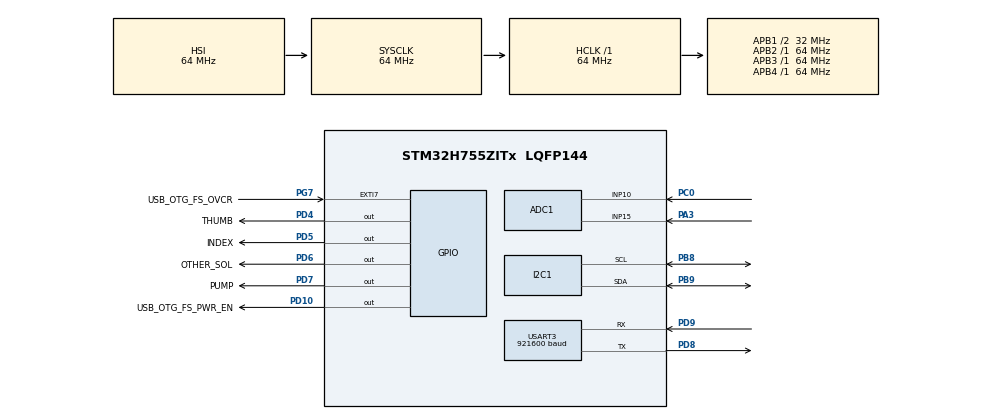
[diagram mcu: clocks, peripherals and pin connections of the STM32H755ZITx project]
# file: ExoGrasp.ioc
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ADC1.Channel-0\#ChannelRegularConversion=ADC_CHANNEL_15
ADC1.Channel-1\#ChannelRegularConversion=ADC_CHANNEL_10
ADC1.ClockPrescaler=ADC_CLOCK_ASYNC_DIV2
ADC1.ContinuousConvMode=DISABLE
ADC1.ConversionDataManagement=ADC_CONVERSIONDATA_DMA_CIRCULAR
ADC1.EOCSelection=ADC_EOC_SEQ_CONV
ADC1.ExternalTrigConv=ADC_EXTERNALTRIG_T3_TRGO
ADC1.ExternalTrigConvEdge=ADC_EXTERNALTRIGCONVEDGE_RISING
ADC1.NbrOfConversion=2
ADC1.NbrOfConversionFlag=1
ADC1.OffsetNumber-0\#ChannelRegularConversion=ADC_OFFSET_NONE
ADC1.OffsetNumber-1\#ChannelRegularConversion=ADC_OFFSET_NONE
ADC1.OffsetSignedSaturation-0\#ChannelRegularConversion=DISABLE
ADC1.OffsetSignedSaturation-1\#ChannelRegularConversion=DISABLE
ADC1.Rank-0\#ChannelRegularConversion=1
ADC1.Rank-1\#ChannelRegularConversion=2
ADC1.SamplingTime-0\#ChannelRegularConversion=ADC_SAMPLETIME_1CYCLE_5
ADC1.SamplingTime-1\#ChannelRegularConversion=ADC_SAMPLETIME_1CYCLE_5
ADC1.master=1
CORTEX_M7.CPU_DCache=Enabled
CORTEX_M7.CPU_ICache=Enabled
CortexM4.IPs=FATFS_M4\:I,FREERTOS_M4\:I,IWDG2\:I,RCC,WWDG2\:I,DMA,BDMA,MDMA,NVIC2\:I,ETH,DEBUG,PDM2PCM_M4\:I,PWR,RESMGR_UTILITY,SYS_M4\:I,USB_DEVICE_M4\:I,USB_HOST_M4\:I,CORTEX_M4\:I,GPIO,OPENAMP_M4\:I,VREFBUF,NUCLEO-H755ZI-Q,TIM7\:I,USART3
CortexM7.IPs=FATFS_M7\:I,FREERTOS_M7\:I,IWDG1\:I,RCC\:I,WWDG1\:I,DMA\:I,BDMA\:I,MDMA\:I,NVIC1\:I,ETH\:I,SYS\:I,CORTEX_M7\:I,DEBUG\:I,PDM2PCM_M7\:I,PWR\:I,RESMGR_UTILITY\:I,USB_DEVICE_M7\:I,USB_HOST_M7\:I,GPIO\:I,OPENAMP_M7\:I,VREFBUF\:I,NUCLEO-H755ZI-Q\:I,MEMORYMAP\:I,TIM6\:I,USART3\:I,I2C1\:I,ADC1\:I,TIM3\:I,STMicroelectronics.X-CUBE-AI.10.0.0_M7\:I
CortexM7.Pins=PD4,PD5,PD6,PD7
Dma.ADC1.0.Direction=DMA_PERIPH_TO_MEMORY
Dma.ADC1.0.EventEnable=DISABLE
Dma.ADC1.0.FIFOMode=DMA_FIFOMODE_DISABLE
Dma.ADC1.0.Instance=DMA1_Stream0
Dma.ADC1.0.MemDataAlignment=DMA_MDATAALIGN_HALFWORD
Dma.ADC1.0.MemInc=DMA_MINC_ENABLE
Dma.ADC1.0.Mode=DMA_CIRCULAR
Dma.ADC1.0.PeriphDataAlignment=DMA_PDATAALIGN_HALFWORD
Dma.ADC1.0.PeriphInc=DMA_PINC_DISABLE
Dma.ADC1.0.Polarity=HAL_DMAMUX_REQ_GEN_RISING
Dma.ADC1.0.Priority=DMA_PRIORITY_HIGH
Dma.ADC1.0.RequestNumber=1
Dma.ADC1.0.SignalID=NONE
Dma.ADC1.0.SyncEnable=DISABLE
Dma.ADC1.0.SyncPolarity=HAL_DMAMUX_SYNC_NO_EVENT
Dma.ADC1.0.SyncRequestNumber=1
Dma.ADC1.0.SyncSignalID=NONE
Dma.Request0=ADC1
Dma.Request1=USART3_TX
Dma.USART3_TX.1.Direction=DMA_MEMORY_TO_PERIPH
Dma.USART3_TX.1.EventEnable=DISABLE
Dma.USART3_TX.1.FIFOMode=DMA_FIFOMODE_DISABLE
Dma.USART3_TX.1.Instance=DMA1_Stream1
Dma.USART3_TX.1.MemDataAlignment=DMA_MDATAALIGN_BYTE
Dma.USART3_TX.1.MemInc=DMA_MINC_ENABLE
Dma.USART3_TX.1.Mode=DMA_CIRCULAR
Dma.USART3_TX.1.PeriphDataAlignment=DMA_PDATAALIGN_BYTE
Dma.USART3_TX.1.PeriphInc=DMA_PINC_DISABLE
Dma.USART3_TX.1.Polarity=HAL_DMAMUX_REQ_GEN_RISING
Dma.USART3_TX.1.Priority=DMA_PRIORITY_HIGH
Dma.USART3_TX.1.RequestNumber=1
Dma.USART3_TX.1.SignalID=NONE
Dma.USART3_TX.1.SyncEnable=DISABLE
Dma.USART3_TX.1.SyncPolarity=HAL_DMAMUX_SYNC_NO_EVENT
Dma.USART3_TX.1.SyncRequestNumber=1
Dma.USART3_TX.1.SyncSignalID=NONE
FREERTOS_M4.Tasks01=mainTask,24,128,StartMainTask,Default,NULL,Dynamic,NULL,NULL
FREERTOS_M7.Tasks01=mainTask,24,1024,StartMainTask,Default,NULL,Dynamic,NULL,NULL;controllerTask,24,256,startControllerTask,Default,NULL,Dynamic,NULL,NULL;predictionTask,24,128,startPredictionTask,Default,NULL,Dynamic,NULL,NULL
I2C1.Timing=0x00707CBB
Mcu.Family=STM32H7
Mcu.Name=STM32H755ZITx
Mcu.Package=LQFP144
NUCLEO-H755ZI-Q.BUTTON=1
NUCLEO-H755ZI-Q.LD1=true
NUCLEO-H755ZI-Q.LD2=true
NUCLEO-H755ZI-Q.LD3=true
NUCLEO-H755ZI-Q.VCP=false
NVIC1.ADC_IRQn=true\:5\:0\:false\:false\:true\:true\:true\:true\:true
NVIC1.DMA1_Stream0_IRQn=true\:5\:0\:false\:false\:true\:true\:false\:true\:true
NVIC1.DMA1_Stream1_IRQn=true\:5\:0\:false\:false\:true\:true\:false\:true\:true
NVIC1.EXTI15_10_IRQn=true\:5\:0\:false\:false\:true\:true\:false\:true\:true
NVIC1.PriorityGroup=NVIC_PRIORITYGROUP_4
NVIC1.TIM6_DAC_IRQn=true\:15\:0\:false\:false\:true\:false\:false\:true\:true
NVIC1.TimeBase=TIM6_DAC_IRQn
NVIC1.TimeBaseIP=TIM6
NVIC2.PriorityGroup=NVIC_PRIORITYGROUP_4
NVIC2.TIM7_IRQn=true\:15\:0\:false\:false\:true\:false\:false\:true\:true
NVIC2.TimeBase=TIM7_IRQn
NVIC2.TimeBaseIP=TIM7
PA1.PinAttribute=CortexM7
PA1.Signal=ETH_REF_CLK
PA11.PinAttribute=CortexM4
PA11.Signal=USB_OTG_FS_DM
PA12.PinAttribute=CortexM4
PA12.Signal=USB_OTG_FS_DP
PA2.PinAttribute=CortexM7
PA2.Signal=ETH_MDIO
PA3.PinAttribute=CortexM7
PA3.Signal=ADCx_INP15
PA7.PinAttribute=CortexM7
PA7.Signal=ETH_CRS_DV
PA8.PinAttribute=CortexM4
PA8.Signal=USB_OTG_FS_SOF
PA9.PinAttribute=CortexM4
PA9.Signal=USB_OTG_FS_VBUS
PB13.PinAttribute=CortexM7
PB13.Signal=ETH_TXD1
PB8.Mode=I2C
PB8.PinAttribute=CortexM7
PB8.Signal=I2C1_SCL
PB9.Mode=I2C
PB9.PinAttribute=CortexM7
PB9.Signal=I2C1_SDA
PC0.PinAttribute=CortexM7
PC0.Signal=ADCx_INP10
PC1.PinAttribute=CortexM7
PC1.Signal=ETH_MDC
PC14-OSC32_IN\ (OSC32_IN).PinAttribute=Free
PC14-OSC32_IN\ (OSC32_IN).Signal=RCC_OSC32_IN
PC15-OSC32_OUT\ (OSC32_OUT).PinAttribute=Free
PC15-OSC32_OUT\ (OSC32_OUT).Signal=RCC_OSC32_OUT
PC4.PinAttribute=CortexM7
PC4.Signal=ETH_RXD0
PC5.PinAttribute=CortexM7
PC5.Signal=ETH_RXD1
PD10.GPIO_Label=USB_OTG_FS_PWR_EN
PD10.PinAttribute=Free
PD10.Signal=GPIO_Output
PD4.GPIO_Label=THUMB
PD4.PinAttribute=CortexM7
PD4.Signal=GPIO_Output
PD5.GPIO_Label=INDEX
PD5.PinAttribute=CortexM7
PD5.Signal=GPIO_Output
PD6.GPIO_Label=OTHER_SOL
PD6.PinAttribute=CortexM7
PD6.Signal=GPIO_Output
PD7.GPIO_Label=PUMP
PD7.PinAttribute=CortexM7
PD7.Signal=GPIO_Output
PD8.Mode=Asynchronous
PD8.PinAttribute=CortexM7
PD8.Signal=USART3_TX
PD9.Mode=Asynchronous
PD9.PinAttribute=CortexM7
PD9.Signal=USART3_RX
PG11.PinAttribute=CortexM7
PG11.Signal=ETH_TX_EN
PG13.PinAttribute=CortexM7
PG13.Signal=ETH_TXD0
PG7.GPIO_Label=USB_OTG_FS_OVCR
PG7.PinAttribute=Free
PG7.Signal=GPXTI7
PH0-OSC_IN\ (PH0).Mode=HSE-External-Clock-Source
PH0-OSC_IN\ (PH0).PinAttribute=Free
PH0-OSC_IN\ (PH0).Signal=RCC_OSC_IN
PH1-OSC_OUT\ (PH1).PinAttribute=Free
PH1-OSC_OUT\ (PH1).Signal=RCC_OSC_OUT
ProjectManager.HeapSize=M4-0x200,M7-0x800
ProjectManager.StackSize=M4-0x400,M7-0x800
ProjectManager.TargetToolchain=STM32CubeIDE
RCC.ADCFreq_Value=25600000
RCC.APB1Freq_Value=32000000
RCC.APB2Freq_Value=64000000
RCC.APB3Freq_Value=64000000
RCC.APB4Freq_Value=64000000
RCC.CortexFreq_Value=64000000
RCC.D2PPRE1=RCC_APB1_DIV2
RCC.DIVM1=5
RCC.DIVM2=4
RCC.DIVN1=48
RCC.DIVN2=16
RCC.DIVP2=10
RCC.DIVQ1=5
RCC.HCLKFreq_Value=64000000
RCC.HSE_VALUE=8000000
RCC.PLL2FRACN=0
RCC.PLL3FRACN=0
RCC.PLLFRACN=0
RCC.SYSCLKFreq_VALUE=64000000
RCC.SupplySource=PWR_DIRECT_SMPS_SUPPLY
RCC.USBCLockSelection=RCC_USBCLKSOURCE_HSI48
RCC.USBFreq_Value=48000000
SH.ADCx_INP10.0=ADC1_INP10,IN10-Single-Ended
SH.ADCx_INP15.0=ADC1_INP15,IN15-Single-Ended
STMicroelectronics.X-CUBE-AI.10.0.0_M7.ActivationBufferSizeList=4256
STMicroelectronics.X-CUBE-AI.10.0.0_M7.ActivationBuffers=pool0
STMicroelectronics.X-CUBE-AI.10.0.0_M7.ActivationNames=pool0
STMicroelectronics.X-CUBE-AI.10.0.0_M7.ActivationSizes=AI_NETWORK_DATA_ACTIVATION_1_SIZE
STMicroelectronics.X-CUBE-AI.10.0.0_M7.ApplicationCcDeviceJjApplication=ApplicationTemplate
STMicroelectronics.X-CUBE-AI.10.0.0_M7.HeapSize=0x800
STMicroelectronics.X-CUBE-AI.10.0.0_M7.InternalRamActivationBufferMaxSize=AI_NETWORK_DATA_ACTIVATIONS_SIZE
STMicroelectronics.X-CUBE-AI.10.0.0_M7.LatestDirectoryUsed-0f46ecf0e86af636636d605be204cf0e47c9ae756dd03d707c3429a797bc8438=C\:\\Users\\Daniel\\Documents\\ExoGrasp\\ExoGrasp
STMicroelectronics.X-CUBE-AI.10.0.0_M7.MaximumNumberOfInputLayer=1
STMicroelectronics.X-CUBE-AI.10.0.0_M7.MaximumNumberOfOutputLayer=1
STMicroelectronics.X-CUBE-AI.10.0.0_M7.MaximumSizeOfInputLayer=1
STMicroelectronics.X-CUBE-AI.10.0.0_M7.MaximumSizeOfOutputLayer=1,1
STMicroelectronics.X-CUBE-AI.10.0.0_M7.ModelActualCompression-0f46ecf0e86af636636d605be204cf0e47c9ae756dd03d707c3429a797bc8438=0.0
STMicroelectronics.X-CUBE-AI.10.0.0_M7.ModelCompression-0f46ecf0e86af636636d605be204cf0e47c9ae756dd03d707c3429a797bc8438=None
STMicroelectronics.X-CUBE-AI.10.0.0_M7.ModelFlashOccupation-0f46ecf0e86af636636d605be204cf0e47c9ae756dd03d707c3429a797bc8438=73822
STMicroelectronics.X-CUBE-AI.10.0.0_M7.ModelHashList=0f46ecf0e86af636636d605be204cf0e47c9ae756dd03d707c3429a797bc8438
STMicroelectronics.X-CUBE-AI.10.0.0_M7.ModelKind-0f46ecf0e86af636636d605be204cf0e47c9ae756dd03d707c3429a797bc8438=ONNX
STMicroelectronics.X-CUBE-AI.10.0.0_M7.ModelMacc-0f46ecf0e86af636636d605be204cf0e47c9ae756dd03d707c3429a797bc8438=10194
STMicroelectronics.X-CUBE-AI.10.0.0_M7.ModelName-0f46ecf0e86af636636d605be204cf0e47c9ae756dd03d707c3429a797bc8438=network
STMicroelectronics.X-CUBE-AI.10.0.0_M7.ModelNameList=network
STMicroelectronics.X-CUBE-AI.10.0.0_M7.ModelRamOccupation-0f46ecf0e86af636636d605be204cf0e47c9ae756dd03d707c3429a797bc8438=4256
STMicroelectronics.X-CUBE-AI.10.0.0_M7.ModelStructureFile-0f46ecf0e86af636636d605be204cf0e47c9ae756dd03d707c3429a797bc8438=mlp_classifier.onnx
STMicroelectronics.X-CUBE-AI.10.0.0_M7.ModelType-0f46ecf0e86af636636d605be204cf0e47c9ae756dd03d707c3429a797bc8438=STM32Cube.AI MCU runtime
STMicroelectronics.X-CUBE-AI.10.0.0_M7.ReadyForCodeGeneration=true
STMicroelectronics.X-CUBE-AI.10.0.0_M7.StackSize=0x800
STMicroelectronics.X-CUBE-AI.10.0.0_M7.WorkingBufferStartAddrList=0xFFFFFFFF
STMicroelectronics.X-CUBE-AI.10.0.0_M7.XAaCUBEAaAICcArtificialOoIntelligenceJjCore=true
STMicroelectronics.X-CUBE-AI.10.0.0_M7.copyWeightToRam=false
STMicroelectronics.X-CUBE-AI.10.0.0_M7.copyWeightToRam-0f46ecf0e86af636636d605be204cf0e47c9ae756dd03d707c3429a797bc8438=false
STMicroelectronics.X-CUBE-AI.10.0.0_M7.customLayerConfigEnabled=false
STMicroelectronics.X-CUBE-AI.10.0.0_M7.customLayerConfigEnabled-0f46ecf0e86af636636d605be204cf0e47c9ae756dd03d707c3429a797bc8438=false
STMicroelectronics.X-CUBE-AI.10.0.0_M7.noOnnxIoTranspose=false
STMicroelectronics.X-CUBE-AI.10.0.0_M7.noOnnxIoTranspose-0f46ecf0e86af636636d605be204cf0e47c9ae756dd03d707c3429a797bc8438=false
STMicroelectronics.X-CUBE-AI.10.0.0_M7.useInputAllocation=true
STMicroelectronics.X-CUBE-AI.10.0.0_M7.useInputAllocation-0f46ecf0e86af636636d605be204cf0e47c9ae756dd03d707c3429a797bc8438=true
STMicroelectronics.X-CUBE-AI.10.0.0_M7.useOutputAllocation=true
STMicroelectronics.X-CUBE-AI.10.0.0_M7.useOutputAllocation-0f46ecf0e86af636636d605be204cf0e47c9ae756dd03d707c3429a797bc8438=true
TIM3.Period=9
TIM3.Prescaler=6399
TIM3.TIM_MasterOutputTrigger=TIM_TRGO_UPDATE
USART3.BaudRate=921600
USART3.VirtualMode-Asynchronous=VM_ASYNC
VP_FREERTOS_M4_VS_CMSIS_V2.Mode=CMSIS_V2
VP_FREERTOS_M7_VS_CMSIS_V2.Mode=CMSIS_V2
VP_MEMORYMAP_VS_MEMORYMAP.Mode=CurAppReg
VP_NUCLEO-H755ZI-Q_VS_BSP_COMMON.Mode=COMMON
VP_STMicroelectronics.X-CUBE-AI_M7_VS_ArtificialOoIntelligenceJjXAaCUBEAaAI_10.0.0.Mode=ArtificialOoIntelligenceJjXAaCUBEAaAI
VP_STMicroelectronics.X-CUBE-AI_M7_VS_DeviceJjApplication_10.0.0.Mode=DeviceJjApplication
VP_SYS_M4_VS_tim7.Mode=TIM7
VP_SYS_VS_tim6.Mode=TIM6
VP_TIM3_VS_ClockSourceINT.Mode=Internal
board=NUCLEO-H755ZI-Q

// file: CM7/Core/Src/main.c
/* USER CODE BEGIN Header */
/**
  ******************************************************************************
  * @file           : main.c
  * @brief          : Main program body
  ******************************************************************************
  * @attention
  *
  * Copyright (c) 2025 STMicroelectronics.
  * All rights reserved.
  *
  * This software is licensed under terms that can be found in the LICENSE file
  * in the root directory of this software component.
  * If no LICENSE file comes with this software, it is provided AS-IS.
  *
  ******************************************************************************
  */
/* USER CODE END Header */
#include "main.h"
#include "cmsis_os.h"
#include "app_x-cube-ai.h"

/* USER CODE BEGIN PD */

#ifndef HSEM_ID_0
#define HSEM_ID_0 (0U) /* HW semaphore 0*/
#endif

/* USER CODE END PD */

ADC_HandleTypeDef hadc1;
DMA_HandleTypeDef hdma_adc1;

I2C_HandleTypeDef hi2c1;

TIM_HandleTypeDef htim3;

UART_HandleTypeDef huart3;
DMA_HandleTypeDef hdma_usart3_tx;

/* Definitions for mainTask */
osThreadId_t mainTaskHandle;
const osThreadAttr_t mainTask_attributes = {
  .name = "mainTask",
  .stack_size = 1024 * 4,
  .priority = (osPriority_t) osPriorityNormal,
};
/* Definitions for controllerTask */
osThreadId_t controllerTaskHandle;
const osThreadAttr_t controllerTask_attributes = {
  .name = "controllerTask",
  .stack_size = 256 * 4,
  .priority = (osPriority_t) osPriorityNormal,
};
/* Definitions for predictionTask */
osThreadId_t predictionTaskHandle;
const osThreadAttr_t predictionTask_attributes = {
  .name = "predictionTask",
  .stack_size = 128 * 4,
  .priority = (osPriority_t) osPriorityNormal,
};
/* USER CODE BEGIN PV */
volatile uint16_t adc_buffer[400]; // Circular buffer for ADC data
volatile uint16_t currentBufferIndex = 0;
volatile uint16_t sensor_averages[NUM_ADC_CHANNELS];
char msg[128];
uint32_t dma_position = 0;
float pressure = 0.0f;
handState_t state = OPEN;
/* USER CODE END PV */

void SystemClock_Config(void);
static void MX_GPIO_Init(void);
static void MX_DMA_Init(void);
static void MX_USART3_UART_Init(void);
static void MX_I2C1_Init(void);
static void MX_ADC1_Init(void);
static void MX_TIM3_Init(void);
void StartMainTask(void *argument);
void startControllerTask(void *argument);
void startPredictionTask(void *argument);

int main(void)
{

/* USER CODE BEGIN Boot_Mode_Sequence_0 */
  int32_t timeout;
/* USER CODE END Boot_Mode_Sequence_0 */

  /* Enable the CPU Cache */

  /* Enable I-Cache---------------------------------------------------------*/
  SCB_EnableICache();

  /* Enable D-Cache---------------------------------------------------------*/
  SCB_EnableDCache();

/* USER CODE BEGIN Boot_Mode_Sequence_1 */
  /* Wait until CPU2 boots and enters in stop mode or timeout*/
  timeout = 0xFFFF;
  while((__HAL_RCC_GET_FLAG(RCC_FLAG_D2CKRDY) != RESET) && (timeout-- > 0));
  if ( timeout < 0 )
  {
  Error_Handler();
  }
/* USER CODE END Boot_Mode_Sequence_1 */
  /* MCU Configuration--------------------------------------------------------*/

  /* Reset of all peripherals, Initializes the Flash interface and the Systick. */
  HAL_Init();

  /* Configure the system clock */
  SystemClock_Config();
/* USER CODE BEGIN Boot_Mode_Sequence_2 */
/* When system initialization is finished, Cortex-M7 will release Cortex-M4 by means of
HSEM notification */
/*HW semaphore Clock enable*/
__HAL_RCC_HSEM_CLK_ENABLE();
/*Take HSEM */
HAL_HSEM_FastTake(HSEM_ID_0);
/*Release HSEM in order to notify the CPU2(CM4)*/
HAL_HSEM_Release(HSEM_ID_0,0);
/* wait until CPU2 wakes up from stop mode */
timeout = 0xFFFF;
while((__HAL_RCC_GET_FLAG(RCC_FLAG_D2CKRDY) == RESET) && (timeout-- > 0));
if ( timeout < 0 )
{
Error_Handler();
}
/* USER CODE END Boot_Mode_Sequence_2 */

  /* Initialize all configured peripherals */
  MX_GPIO_Init();
  MX_DMA_Init();
  MX_USART3_UART_Init();
  MX_I2C1_Init();
  MX_ADC1_Init();
  MX_TIM3_Init();
  MX_X_CUBE_AI_Init();
  /* USER CODE BEGIN 2 */
//  HAL_DMA_Init(&hdma_adc1);
  HAL_ADCEx_Calibration_Start(&hadc1, ADC_CALIB_OFFSET, ADC_SINGLE_ENDED);
  HAL_TIM_Base_Start(&htim3);
  HAL_ADC_Start_DMA(&hadc1, (uint32_t *)&adc_buffer[currentBufferIndex], TOTAL_SAMPLES);
  /* USER CODE END 2 */

  /* Init scheduler */
  osKernelInitialize();

  /* Create the thread(s) */
  /* creation of mainTask */
  mainTaskHandle = osThreadNew(StartMainTask, NULL, &mainTask_attributes);

  /* creation of controllerTask */
  controllerTaskHandle = osThreadNew(startControllerTask, NULL, &controllerTask_attributes);

  /* creation of predictionTask */
  predictionTaskHandle = osThreadNew(startPredictionTask, NULL, &predictionTask_attributes);

  /* Initialize leds */
  BSP_LED_Init(LED_GREEN);
  BSP_LED_Init(LED_YELLOW);
  BSP_LED_Init(LED_RED);

  /* Initialize USER push-button, will be used to trigger an interrupt each time it's pressed.*/
  BSP_PB_Init(BUTTON_USER, BUTTON_MODE_EXTI);

  /* Start scheduler */
  osKernelStart();

  /* We should never get here as control is now taken by the scheduler */

  /* Infinite loop */
  while (1)
  {

  }
}

void SystemClock_Config(void)
{
  RCC_OscInitTypeDef RCC_OscInitStruct = {0};
  RCC_ClkInitTypeDef RCC_ClkInitStruct = {0};

  /** Supply configuration update enable
  */
  HAL_PWREx_ConfigSupply(PWR_DIRECT_SMPS_SUPPLY);

  /** Configure the main internal regulator output voltage
  */
  __HAL_PWR_VOLTAGESCALING_CONFIG(PWR_REGULATOR_VOLTAGE_SCALE3);

  while(!__HAL_PWR_GET_FLAG(PWR_FLAG_VOSRDY)) {}

  /** Macro to configure the PLL clock source
  */
  __HAL_RCC_PLL_PLLSOURCE_CONFIG(RCC_PLLSOURCE_HSI);

  /** Initializes the RCC Oscillators according to the specified parameters
  * in the RCC_OscInitTypeDef structure.
  */
  RCC_OscInitStruct.OscillatorType = RCC_OSCILLATORTYPE_HSI;
  RCC_OscInitStruct.HSIState = RCC_HSI_DIV1;
  RCC_OscInitStruct.HSICalibrationValue = RCC_HSICALIBRATION_DEFAULT;
  RCC_OscInitStruct.PLL.PLLState = RCC_PLL_NONE;
  if (HAL_RCC_OscConfig(&RCC_OscInitStruct) != HAL_OK)
  {
    Error_Handler();
  }

  /** Initializes the CPU, AHB and APB buses clocks
  */
  RCC_ClkInitStruct.ClockType = RCC_CLOCKTYPE_HCLK|RCC_CLOCKTYPE_SYSCLK
                              |RCC_CLOCKTYPE_PCLK1|RCC_CLOCKTYPE_PCLK2
                              |RCC_CLOCKTYPE_D3PCLK1|RCC_CLOCKTYPE_D1PCLK1;
  RCC_ClkInitStruct.SYSCLKSource = RCC_SYSCLKSOURCE_HSI;
  RCC_ClkInitStruct.SYSCLKDivider = RCC_SYSCLK_DIV1;
  RCC_ClkInitStruct.AHBCLKDivider = RCC_HCLK_DIV1;
  RCC_ClkInitStruct.APB3CLKDivider = RCC_APB3_DIV1;
  RCC_ClkInitStruct.APB1CLKDivider = RCC_APB1_DIV2;
  RCC_ClkInitStruct.APB2CLKDivider = RCC_APB2_DIV1;
  RCC_ClkInitStruct.APB4CLKDivider = RCC_APB4_DIV1;

  if (HAL_RCC_ClockConfig(&RCC_ClkInitStruct, FLASH_LATENCY_1) != HAL_OK)
  {
    Error_Handler();
  }
}

static void MX_ADC1_Init(void)
{

  ADC_MultiModeTypeDef multimode = {0};
  ADC_ChannelConfTypeDef sConfig = {0};

  /** Common config
  */
  hadc1.Instance = ADC1;
  hadc1.Init.ClockPrescaler = ADC_CLOCK_ASYNC_DIV2;
  hadc1.Init.Resolution = ADC_RESOLUTION_16B;
  hadc1.Init.ScanConvMode = ADC_SCAN_ENABLE;
  hadc1.Init.EOCSelection = ADC_EOC_SEQ_CONV;
  hadc1.Init.LowPowerAutoWait = DISABLE;
  hadc1.Init.ContinuousConvMode = DISABLE;
  hadc1.Init.NbrOfConversion = 2;
  hadc1.Init.DiscontinuousConvMode = DISABLE;
  hadc1.Init.ExternalTrigConv = ADC_EXTERNALTRIG_T3_TRGO;
  hadc1.Init.ExternalTrigConvEdge = ADC_EXTERNALTRIGCONVEDGE_RISING;
  hadc1.Init.ConversionDataManagement = ADC_CONVERSIONDATA_DMA_CIRCULAR;
  hadc1.Init.Overrun = ADC_OVR_DATA_PRESERVED;
  hadc1.Init.LeftBitShift = ADC_LEFTBITSHIFT_NONE;
  hadc1.Init.OversamplingMode = DISABLE;
  hadc1.Init.Oversampling.Ratio = 1;
  if (HAL_ADC_Init(&hadc1) != HAL_OK)
  {
    Error_Handler();
  }

  /** Configure the ADC multi-mode
  */
  multimode.Mode = ADC_MODE_INDEPENDENT;
  if (HAL_ADCEx_MultiModeConfigChannel(&hadc1, &multimode) != HAL_OK)
  {
    Error_Handler();
  }

  /** Configure Regular Channel
  */
  sConfig.Channel = ADC_CHANNEL_15;
  sConfig.Rank = ADC_REGULAR_RANK_1;
  sConfig.SamplingTime = ADC_SAMPLETIME_1CYCLE_5;
  sConfig.SingleDiff = ADC_SINGLE_ENDED;
  sConfig.OffsetNumber = ADC_OFFSET_NONE;
  sConfig.Offset = 0;
  sConfig.OffsetSignedSaturation = DISABLE;
  if (HAL_ADC_ConfigChannel(&hadc1, &sConfig) != HAL_OK)
  {
    Error_Handler();
  }

  /** Configure Regular Channel
  */
  sConfig.Channel = ADC_CHANNEL_10;
  sConfig.Rank = ADC_REGULAR_RANK_2;
  if (HAL_ADC_ConfigChannel(&hadc1, &sConfig) != HAL_OK)
  {
    Error_Handler();
  }

}

static void MX_I2C1_Init(void)
{

  hi2c1.Instance = I2C1;
  hi2c1.Init.Timing = 0x00707CBB;
  hi2c1.Init.OwnAddress1 = 0;
  hi2c1.Init.AddressingMode = I2C_ADDRESSINGMODE_7BIT;
  hi2c1.Init.DualAddressMode = I2C_DUALADDRESS_DISABLE;
  hi2c1.Init.OwnAddress2 = 0;
  hi2c1.Init.OwnAddress2Masks = I2C_OA2_NOMASK;
  hi2c1.Init.GeneralCallMode = I2C_GENERALCALL_DISABLE;
  hi2c1.Init.NoStretchMode = I2C_NOSTRETCH_DISABLE;
  if (HAL_I2C_Init(&hi2c1) != HAL_OK)
  {
    Error_Handler();
  }

  /** Configure Analogue filter
  */
  if (HAL_I2CEx_ConfigAnalogFilter(&hi2c1, I2C_ANALOGFILTER_ENABLE) != HAL_OK)
  {
    Error_Handler();
  }

  /** Configure Digital filter
  */
  if (HAL_I2CEx_ConfigDigitalFilter(&hi2c1, 0) != HAL_OK)
  {
    Error_Handler();
  }

}

static void MX_TIM3_Init(void)
{

  TIM_ClockConfigTypeDef sClockSourceConfig = {0};
  TIM_MasterConfigTypeDef sMasterConfig = {0};

  htim3.Instance = TIM3;
  htim3.Init.Prescaler = 6399;
  htim3.Init.CounterMode = TIM_COUNTERMODE_UP;
  htim3.Init.Period = 9;
  htim3.Init.ClockDivision = TIM_CLOCKDIVISION_DIV1;
  htim3.Init.AutoReloadPreload = TIM_AUTORELOAD_PRELOAD_DISABLE;
  if (HAL_TIM_Base_Init(&htim3) != HAL_OK)
  {
    Error_Handler();
  }
  sClockSourceConfig.ClockSource = TIM_CLOCKSOURCE_INTERNAL;
  if (HAL_TIM_ConfigClockSource(&htim3, &sClockSourceConfig) != HAL_OK)
  {
    Error_Handler();
  }
  sMasterConfig.MasterOutputTrigger = TIM_TRGO_UPDATE;
  sMasterConfig.MasterSlaveMode = TIM_MASTERSLAVEMODE_DISABLE;
  if (HAL_TIMEx_MasterConfigSynchronization(&htim3, &sMasterConfig) != HAL_OK)
  {
    Error_Handler();
  }

}

static void MX_USART3_UART_Init(void)
{

  huart3.Instance = USART3;
  huart3.Init.BaudRate = 921600;
  huart3.Init.WordLength = UART_WORDLENGTH_8B;
  huart3.Init.StopBits = UART_STOPBITS_1;
  huart3.Init.Parity = UART_PARITY_NONE;
  huart3.Init.Mode = UART_MODE_TX_RX;
  huart3.Init.HwFlowCtl = UART_HWCONTROL_NONE;
  huart3.Init.OverSampling = UART_OVERSAMPLING_16;
  huart3.Init.OneBitSampling = UART_ONE_BIT_SAMPLE_DISABLE;
  huart3.Init.ClockPrescaler = UART_PRESCALER_DIV1;
  huart3.AdvancedInit.AdvFeatureInit = UART_ADVFEATURE_NO_INIT;
  if (HAL_UART_Init(&huart3) != HAL_OK)
  {
    Error_Handler();
  }
  if (HAL_UARTEx_SetTxFifoThreshold(&huart3, UART_TXFIFO_THRESHOLD_1_8) != HAL_OK)
  {
    Error_Handler();
  }
  if (HAL_UARTEx_SetRxFifoThreshold(&huart3, UART_RXFIFO_THRESHOLD_1_8) != HAL_OK)
  {
    Error_Handler();
  }
  if (HAL_UARTEx_DisableFifoMode(&huart3) != HAL_OK)
  {
    Error_Handler();
  }

}

static void MX_DMA_Init(void)
{

  /* DMA controller clock enable */
  __HAL_RCC_DMA1_CLK_ENABLE();

  /* DMA interrupt init */
  /* DMA1_Stream0_IRQn interrupt configuration */
  HAL_NVIC_SetPriority(DMA1_Stream0_IRQn, 5, 0);
  HAL_NVIC_EnableIRQ(DMA1_Stream0_IRQn);
  /* DMA1_Stream1_IRQn interrupt configuration */
  HAL_NVIC_SetPriority(DMA1_Stream1_IRQn, 5, 0);
  HAL_NVIC_EnableIRQ(DMA1_Stream1_IRQn);

}

static void MX_GPIO_Init(void)
{
  GPIO_InitTypeDef GPIO_InitStruct = {0};

  /* GPIO Ports Clock Enable */
  __HAL_RCC_GPIOC_CLK_ENABLE();
  __HAL_RCC_GPIOA_CLK_ENABLE();
  __HAL_RCC_GPIOB_CLK_ENABLE();
  __HAL_RCC_GPIOD_CLK_ENABLE();
  __HAL_RCC_GPIOG_CLK_ENABLE();

  /*Configure GPIO pin Output Level */
  HAL_GPIO_WritePin(GPIOD, THUMB_Pin|INDEX_Pin|OTHER_SOL_Pin|PUMP_Pin, GPIO_PIN_RESET);

  /*Configure GPIO pins : PC1 PC4 PC5 */
  GPIO_InitStruct.Pin = GPIO_PIN_1|GPIO_PIN_4|GPIO_PIN_5;
  GPIO_InitStruct.Mode = GPIO_MODE_AF_PP;
  GPIO_InitStruct.Pull = GPIO_NOPULL;
  GPIO_InitStruct.Speed = GPIO_SPEED_FREQ_LOW;
  GPIO_InitStruct.Alternate = GPIO_AF11_ETH;
  HAL_GPIO_Init(GPIOC, &GPIO_InitStruct);

  /*Configure GPIO pins : PA1 PA2 PA7 */
  GPIO_InitStruct.Pin = GPIO_PIN_1|GPIO_PIN_2|GPIO_PIN_7;
  GPIO_InitStruct.Mode = GPIO_MODE_AF_PP;
  GPIO_InitStruct.Pull = GPIO_NOPULL;
  GPIO_InitStruct.Speed = GPIO_SPEED_FREQ_LOW;
  GPIO_InitStruct.Alternate = GPIO_AF11_ETH;
  HAL_GPIO_Init(GPIOA, &GPIO_InitStruct);

  /*Configure GPIO pin : PB13 */
  GPIO_InitStruct.Pin = GPIO_PIN_13;
  GPIO_InitStruct.Mode = GPIO_MODE_AF_PP;
  GPIO_InitStruct.Pull = GPIO_NOPULL;
  GPIO_InitStruct.Speed = GPIO_SPEED_FREQ_LOW;
  GPIO_InitStruct.Alternate = GPIO_AF11_ETH;
  HAL_GPIO_Init(GPIOB, &GPIO_InitStruct);

  /*Configure GPIO pins : THUMB_Pin INDEX_Pin OTHER_SOL_Pin PUMP_Pin */
  GPIO_InitStruct.Pin = THUMB_Pin|INDEX_Pin|OTHER_SOL_Pin|PUMP_Pin;
  GPIO_InitStruct.Mode = GPIO_MODE_OUTPUT_PP;
  GPIO_InitStruct.Pull = GPIO_NOPULL;
  GPIO_InitStruct.Speed = GPIO_SPEED_FREQ_LOW;
  HAL_GPIO_Init(GPIOD, &GPIO_InitStruct);

  /*Configure GPIO pins : PG11 PG13 */
  GPIO_InitStruct.Pin = GPIO_PIN_11|GPIO_PIN_13;
  GPIO_InitStruct.Mode = GPIO_MODE_AF_PP;
  GPIO_InitStruct.Pull = GPIO_NOPULL;
  GPIO_InitStruct.Speed = GPIO_SPEED_FREQ_LOW;
  GPIO_InitStruct.Alternate = GPIO_AF11_ETH;
  HAL_GPIO_Init(GPIOG, &GPIO_InitStruct);

}

void StartMainTask(void *argument)
{
  /* USER CODE BEGIN 5 */
  handState_t prev_hand_state = state;
  char msg[128];
  sprintf(msg, "Hello");
  HAL_UART_Transmit(&huart3, (uint8_t*)msg, strlen(msg), HAL_MAX_DELAY);
  /* Infinite loop */
  for(;;)
  {
	if (prev_hand_state != state) {
		sprintf(msg, "State: %d/n", state);
		HAL_UART_Transmit(&huart3, (uint8_t*)msg, strlen(msg), HAL_MAX_DELAY);
	}

	readPressureSensor(hi2c1, &pressure);
	Process_ADC_Data(adc_buffer, sensor_averages);

	dma_position = get_dma_position(hdma_adc1);

	prev_hand_state = state;

	osDelay(50);
  }
  /* USER CODE END 5 */
}

void startControllerTask(void *argument)
{
  /* USER CODE BEGIN startControllerTask */
  float p = 110.0;
  float target = 120.0;
  /* Infinite loop */
  for(;;)
  {
	pressureController(&p, target, state);
    osDelay(25);
  }
  /* USER CODE END startControllerTask */
}

void startPredictionTask(void *argument)
{
  /* USER CODE BEGIN startPredictionTask */
  /* Infinite loop */
	/*for(;;)
  {
	if (sensor_averages[0] < 9000)
		state = CLOSED;
	else
		state = OPEN;
    osDelay(10);
  }*/
	for(;;)
	{
		MX_X_CUBE_AI_Process();
		osDelay(50);
	}

  /* USER CODE END startPredictionTask */
}

void HAL_TIM_PeriodElapsedCallback(TIM_HandleTypeDef *htim)
{
  if (htim->Instance == TIM6) {
    HAL_IncTick();
  }
}

void Error_Handler(void)
{
  __disable_irq();
  while (1)
  {
  }
}
